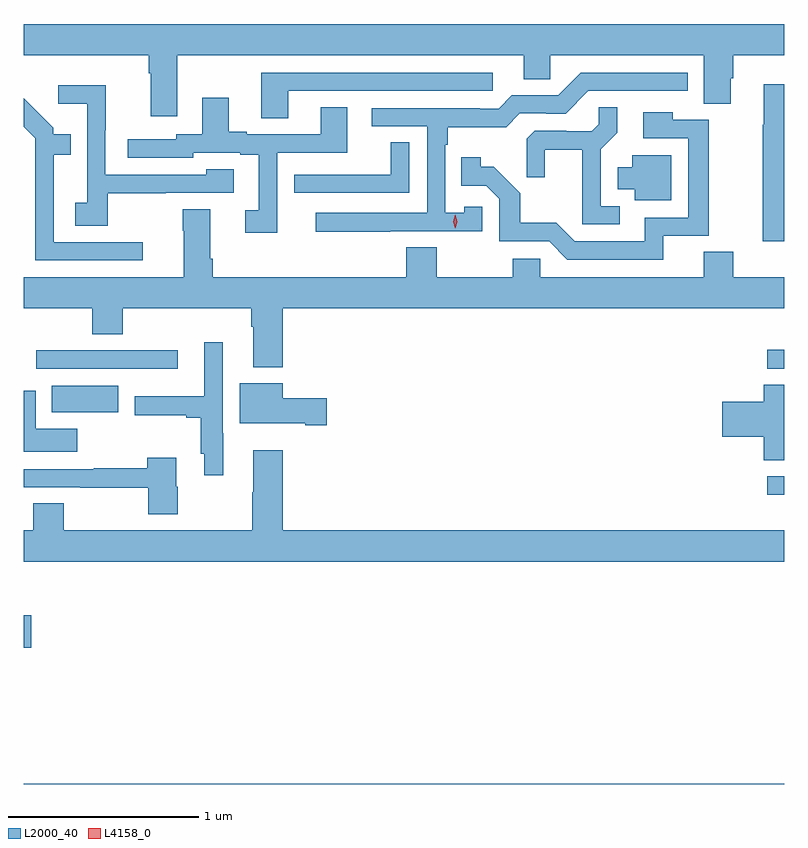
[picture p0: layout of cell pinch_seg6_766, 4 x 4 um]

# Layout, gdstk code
import gdstk
lib = gdstk.Library(unit=1e-6, precision=1e-09)
def R(c, l, rs):  # rectangles x0, y0, x1, y1
    for r in rs: c.add(gdstk.rectangle(r[:2], r[2:], *l))
def P(c, l, *ps):  # polygons
    for p in ps: c.add(gdstk.Polygon(p, *l))
L2000_40 = (2000, 40)
L4158_0 = (4158, 0)

pinch_seg6_766 = lib.new_cell('pinch_seg6_766')
R(pinch_seg6_766, L2000_40, [(348.381,976.802,352.381,976.804), (348.381,977.519,348.421,977.689), (352.293,978.324,352.381,978.42), (348.529,978.758,348.879,978.898), (352.293,978.987,352.381,979.086)])
P(pinch_seg6_766, L2000_40, [(349.189,980.636),(351.011,980.636),(351.011,980.509),(351.15,980.509),(351.15,980.636),(351.959,980.636),(351.959,980.38),(352.099,980.38),(352.099,980.514),(352.112,980.514),(352.112,980.636),(352.381,980.636),(352.381,980.8),(348.381,980.8),(348.381,980.636),(349.037,980.636),(349.037,980.54),(349.049,980.54),(349.049,980.316),(349.189,980.316)],
  [(350.309,979.71),(350.793,979.71),(350.793,979.839),(350.697,979.839),(350.697,979.807),(350.598,979.807),(350.598,980.165),(350.611,980.165),(350.611,980.258),(350.918,980.258),(350.991,980.331),(351.13,980.331),(351.13,980.328),(351.231,980.328),(351.351,980.448),(351.874,980.448),(351.874,980.544),(351.312,980.544),(351.192,980.424),(350.949,980.424),(350.88,980.355),(350.78,980.355),(350.78,980.358),(350.211,980.358),(350.211,980.262),(350.502,980.262),(350.502,979.806),(349.917,979.806),(349.917,979.708),(350.309,979.708)],
  [(349.771,980.448),(350.848,980.448),(350.848,980.544),(349.631,980.544),(349.631,980.305),(349.771,980.305)],
  [(352.381,980.482),(352.274,980.482),(352.274,980.269),(352.267,980.269),(352.267,979.656),(352.381,979.656)],
  [(348.823,979.909),(349.127,979.909),(349.127,979.911),(349.486,979.911),(349.486,980.035),(349.341,980.035),(349.341,980.007),(348.81,980.007),(348.81,980.24),(348.813,980.24),(348.813,980.479),(348.561,980.479),(348.561,980.381),(348.714,980.381),(348.714,979.86),(348.651,979.86),(348.651,979.738),(348.823,979.738)],
  [(349.713,980.124),(350.083,980.124),(350.083,980.363),(349.943,980.363),(349.943,980.22),(349.555,980.22),(349.555,980.233),(349.459,980.233),(349.459,980.413),(349.319,980.413),(349.319,980.22),(349.182,980.22),(349.182,980.193),(348.927,980.193),(348.927,980.097),(349.272,980.097),(349.272,980.124),(349.52,980.124),(349.52,980.112),(349.616,980.112),(349.616,979.821),(349.545,979.821),(349.545,979.701),(349.713,979.701)],
  [(349.006,979.653),(348.538,979.653),(348.538,980.112),(348.629,980.112),(348.629,980.221),(348.537,980.221),(348.537,980.253),(348.381,980.409),(348.381,980.259),(348.441,980.199),(348.441,979.557),(349.006,979.557)],
  [(351.517,979.842),(351.417,979.842),(351.417,980.141),(351.503,980.227),(351.503,980.363),(351.405,980.363),(351.405,980.272),(351.368,980.235),(351.234,980.235),(351.234,980.238),(351.069,980.238),(351.028,980.197),(351.028,979.995),(351.122,979.995),(351.122,980.138),(351.32,980.138),(351.32,979.746),(351.517,979.746)],
  [(351.746,979.686),(351.985,979.686),(351.985,980.295),(351.795,980.295),(351.795,980.335),(351.639,980.335),(351.639,980.199),(351.876,980.199),(351.876,979.782),(351.647,979.782),(351.647,979.656),(351.279,979.656),(351.181,979.755),(350.992,979.755),(350.992,979.91),(350.854,980.048),(350.784,980.048),(350.784,980.098),(350.683,980.098),(350.683,979.95),(350.814,979.95),(350.883,979.881),(350.883,979.656),(351.144,979.656),(351.24,979.56),(351.746,979.56)],
  [(350.409,980.177),(350.311,980.177),(350.311,980.007),(349.915,980.007),(349.915,980.006),(349.803,980.006),(349.803,979.911),(350.409,979.911)],
  [(351.787,980.11),(351.581,980.11),(351.581,980.047),(351.506,980.047),(351.506,979.931),(351.596,979.931),(351.596,979.874),(351.787,979.874)],
  [(349.742,979.304),(352.381,979.304),(352.381,979.468),(352.112,979.468),(352.112,979.601),(351.959,979.601),(351.959,979.468),(351.099,979.468),(351.099,979.566),(350.953,979.566),(350.953,979.468),(350.553,979.468),(350.553,979.625),(350.393,979.625),(350.393,979.468),(349.376,979.468),(349.376,979.564),(349.363,979.564),(349.363,979.825),(349.216,979.825),(349.216,979.712),(349.223,979.712),(349.223,979.468),(348.381,979.468),(348.381,979.304),(348.742,979.304),(348.742,979.168),(348.902,979.168),(348.902,979.304),(349.577,979.304),(349.577,979.208),(349.589,979.208),(349.589,978.995),(349.742,978.995)],
  [(349.429,978.647),(349.428,978.647),(349.428,979.126),(349.331,979.126),(349.331,978.841),(348.964,978.841),(348.964,978.742),(349.235,978.742),(349.235,978.728),(349.312,978.728),(349.312,978.538),(349.331,978.538),(349.331,978.426),(349.429,978.426)],
  [(349.192,979.083),(348.447,979.083),(348.447,978.987),(348.972,978.987),(348.972,978.986),(349.192,978.986)],
  [(349.975,978.831),(349.744,978.831),(349.744,978.91),(349.517,978.91),(349.517,978.701),(349.862,978.701),(349.862,978.689),(349.975,978.689)],
  [(352.381,978.902),(352.274,978.902),(352.274,978.812),(352.056,978.812),(352.056,978.629),(352.274,978.629),(352.274,978.505),(352.381,978.505)],
  [(348.661,978.67),(348.444,978.67),(348.444,978.871),(348.381,978.871),(348.381,978.549),(348.661,978.549)],
  [(352.381,978.136),(349.742,978.136),(349.742,978.559),(349.589,978.559),(349.589,978.338),(349.582,978.338),(349.582,978.136),(348.591,978.136),(348.591,978.278),(348.431,978.278),(348.431,978.136),(348.381,978.136),(348.381,977.972),(352.381,977.972)],
  [(349.191,978.366),(349.183,978.366),(349.183,978.517),(349.031,978.517),(349.031,978.464),(348.748,978.464),(348.748,978.459),(348.381,978.459),(348.381,978.363),(348.679,978.363),(348.679,978.361),(349.036,978.361),(349.036,978.222),(349.191,978.222)])
P(pinch_seg6_766, L4158_0, [(350.65,979.725),(350.65,979.725),(350.64,979.761),(350.65,979.797),(350.65,979.797),(350.65,979.797),(350.66,979.761),(350.65,979.725)])

lib.write_gds('pinch_seg6_766.gds')
